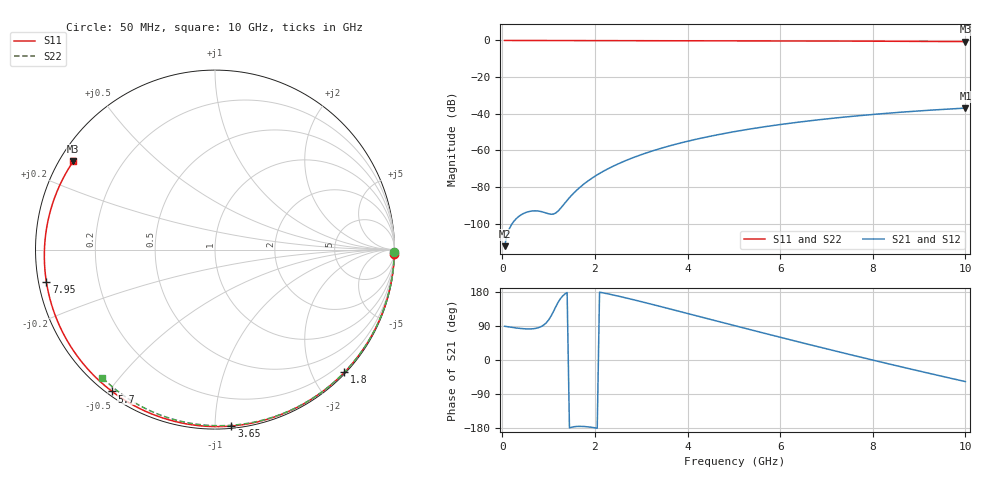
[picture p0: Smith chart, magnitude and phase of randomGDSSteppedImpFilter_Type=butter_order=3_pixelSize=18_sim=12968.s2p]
! freq	dB(S11)	phase(S11)	dB(S12)	phase(S12)
!  dB(S21)	phase(S21)	dB(S22)	phase(S22)
!S-par simulation data
#  GHz  S  DB  R 50
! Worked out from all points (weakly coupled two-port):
!   200 points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, 50 MHz to 10 GHz, reference 50 ohm
!   highest |S21| = -36.91 dB at 10 GHz (marker M1); lowest = -112.2 dB at 50 MHz (marker M2)
!   lowest |S11| = -0.6 dB at 10 GHz (marker M3), VSWR 27.78, Z = 1.95 + j14.3 ohm
!   |S11| at or under -10 dB: nowhere
!   |S22| runs from -0.4 to 0.0 dB; largest |S21 - S12| = 0
!   S11 on the Smith chart (normalised r, x): 50 MHz: 0, -92; 1.8 GHz: 0.02, -2.51; 3.65 GHz: 0.01, -1.10; 5.7 GHz: 0.02, -0.51; 7.95 GHz: 0.02, -0.09; 10 GHz: 0.04, +0.29
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0.05  -0.00 -1.2  -112.21 89.1  -112.21 89.1  -0.00 -0.8
0.4  -0.01 -9.8  -95.21 83.1  -95.21 83.1  -0.01 -6.0
0.8  -0.03 -19.6  -93.13 86.1  -93.13 86.1  -0.02 -12.1
1.2  -0.04 -29.3  -93.18 151.1  -93.18 151.1  -0.02 -18.0
1.65  -0.05 -40.0  -80.68 -175.1  -80.68 -175.1  -0.03 -24.7
1.7  -0.05 -41.1  -79.59 -175.1  -79.59 -175.1  -0.03 -25.4
1.75  -0.05 -42.3  -78.56 -175.4  -78.56 -175.4  -0.03 -26.2
1.8  -0.06 -43.5  -77.57 -175.8  -77.57 -175.8  -0.03 -26.9
2.1  -0.06 -50.5  -72.53 179.0  -72.53 179.0  -0.04 -31.3
2.5  -0.08 -59.6  -67.34 168.7  -67.34 168.7  -0.05 -37.1
2.9  -0.09 -68.5  -63.21 157.1  -63.21 157.1  -0.06 -42.8
3.4  -0.10 -79.4  -59.03 141.7  -59.03 141.7  -0.07 -49.8
3.65  -0.11 -84.7  -57.24 133.8  -57.24 133.8  -0.07 -53.3
4.35  -0.14 -99.2  -52.98 111.7  -52.98 111.7  -0.09 -62.9
5.05  -0.17 -113.3  -49.57 89.6  -49.57 89.6  -0.11 -72.1
5.7  -0.21 -126.0  -46.94 69.3  -46.94 69.3  -0.13 -80.5
6.7  -0.28 -145.2  -43.65 38.6  -43.65 38.6  -0.18 -93.0
7.35  -0.33 -157.6  -41.88 19.0  -41.88 19.0  -0.22 -100.8
7.95  -0.39 -169.3  -40.48 1.2  -40.48 1.2  -0.26 -107.9
8.35  -0.43 -177.2  -39.64 -10.4  -39.64 -10.4  -0.29 -112.5
9.2  -0.52 165.5  -38.10 -34.7  -38.10 -34.7  -0.36 -122.3
10  -0.63 148.1  -36.91 -57.0  -36.91 -57.0  -0.44 -131.3
